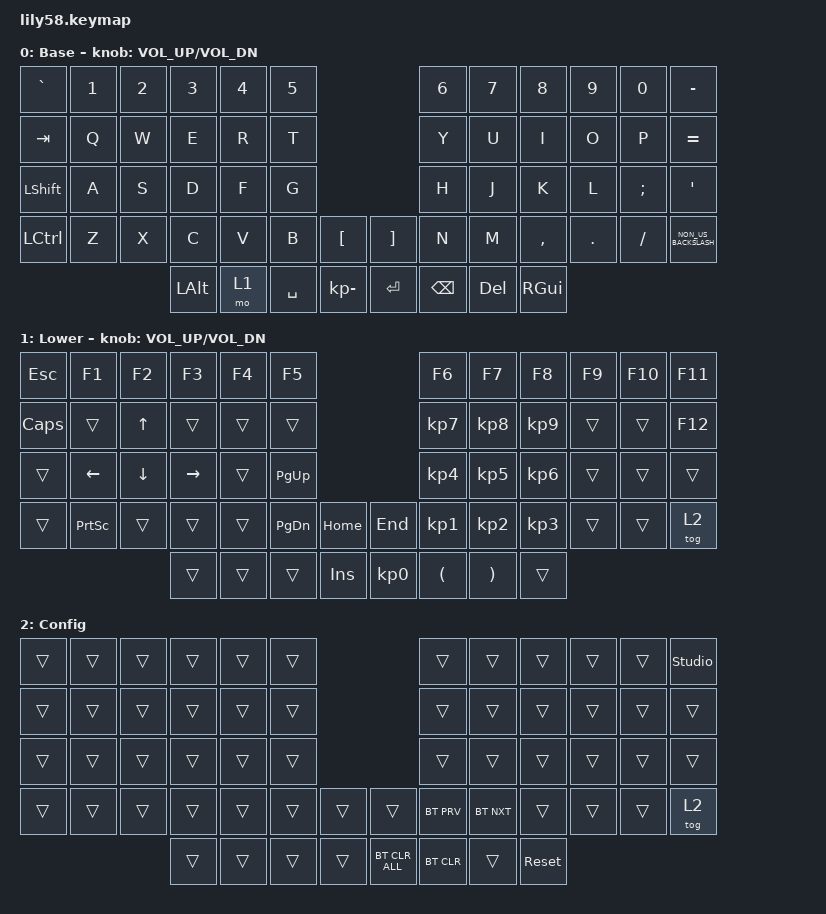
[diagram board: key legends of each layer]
/*
 * Copyright (c) 2020 The ZMK Contributors
 *
 * SPDX-License-Identifier: MIT
 */

#include <behaviors.dtsi>
#include <dt-bindings/zmk/bt.h>
#include <dt-bindings/zmk/keys.h>

/ {
    keymap {
        compatible = "zmk,keymap";

        Base {
            // ------------------------------------------------------------------------------------------------------------
            // |  ESC  |  1  |  2  |  3   |  4   |  5   |                   |  6   |  7    |  8    |  9   |   0   |   `   |
            // |  TAB  |  Q  |  W  |  E   |  R   |  T   |                   |  Y   |  U    |  I    |  O   |   P   |   -   |
            // |  CTRL |  A  |  S  |  D   |  F   |  G   |                   |  H   |  J    |  K    |  L   |   ;   |   '   |
            // | SHIFT |  Z  |  X  |  C   |  V   |  B   |   "["  |  |  "]"  |  N   |  M    |  ,    |  .   |   /   | SHIFT |
            //                     | ALT  | GUI  | LOWER|  SPACE |  | ENTER | RAISE| BSPC  | GUI   |

            bindings = <
&kp GRAVE         &kp N1  &kp N2  &kp N3    &kp N4  &kp N5                                  &kp N6         &kp N7   &kp N8     &kp N9   &kp N0    &kp MINUS
&kp TAB           &kp Q   &kp W   &kp E     &kp R   &kp T                                   &kp Y          &kp U    &kp I      &kp O    &kp P     &kp EQUAL
&kp LEFT_SHIFT    &kp A   &kp S   &kp D     &kp F   &kp G                                   &kp H          &kp J    &kp K      &kp L    &kp SEMI  &kp SQT
&kp LEFT_CONTROL  &kp Z   &kp X   &kp C     &kp V   &kp B      &kp LBKT           &kp RBKT  &kp N          &kp M    &kp COMMA  &kp DOT  &kp FSLH  &kp NON_US_BACKSLASH
                                  &kp LALT  &mo 1   &kp SPACE  &kp KP_SUBTRACT    &kp RET   &kp BACKSPACE  &kp DEL  &kp RGUI
            >;

            sensor-bindings = <&inc_dec_kp C_VOL_UP C_VOL_DN>;
            label = "Base";
        };

        Lower {
            // ------------------------------------------------------------------------------------------------------------
            // | BTCLR | BT1 | BT2 |  BT3 |  BT4 |  BT5 |                   |      |       |       |      |       |       |
            // |  F1   |  F2 |  F3 |  F4  |  F5  |  F6  |                   |  F7  |  F8   |  F9   |  F10 |  F11  |  F12  |
            // |   `   |  !  |  @  |  #   |  $   |  %   |                   |  ^   |  &    |  *    |  (   |   )   |   ~   |
            // |       |     |     |      |      |      |        |  |       |      |  _    |  +    |  {   |   }   |  "|"  |
            //                     |      |      |      |        |  |       |      |       |       |

            bindings = <
&kp ESC   &kp F1           &kp F2    &kp F3     &kp F4  &kp F5                                        &kp F6                &kp F7                 &kp F8           &kp F9  &kp F10  &kp F11
&kp CAPS  &trans           &kp UP    &trans     &trans  &trans                                        &kp KP_NUMBER_7       &kp KP_NUMBER_8        &kp KP_NUMBER_9  &trans  &trans   &kp F12
&trans    &kp LEFT         &kp DOWN  &kp RIGHT  &trans  &kp PG_UP                                     &kp KP_NUMBER_4       &kp KP_NUMBER_5        &kp KP_NUMBER_6  &trans  &trans   &trans
&trans    &kp PRINTSCREEN  &trans    &trans     &trans  &kp PAGE_DOWN  &kp HOME      &kp END          &kp KP_NUMBER_1       &kp KP_NUMBER_2        &kp KP_NUMBER_3  &trans  &trans   &tog 2
                                     &trans     &trans  &trans         &kp INSERT    &kp KP_NUMBER_0  &kp LEFT_PARENTHESIS  &kp RIGHT_PARENTHESIS  &trans
            >;

            sensor-bindings = <&inc_dec_kp C_VOL_UP C_VOL_DN>;
            label = "Lower";
        };

        Config {
            bindings = <
&trans  &trans  &trans  &trans  &trans  &trans                            &trans      &trans      &trans      &trans  &trans  &studio_unlock
&trans  &trans  &trans  &trans  &trans  &trans                            &trans      &trans      &trans      &trans  &trans  &trans
&trans  &trans  &trans  &trans  &trans  &trans                            &trans      &trans      &trans      &trans  &trans  &trans
&trans  &trans  &trans  &trans  &trans  &trans  &trans    &trans          &bt BT_PRV  &bt BT_NXT  &trans      &trans  &trans  &tog 2
                        &trans  &trans  &trans  &trans    &bt BT_CLR_ALL  &bt BT_CLR  &trans      &sys_reset
            >;

            label = "Config";
        };
    };
};
